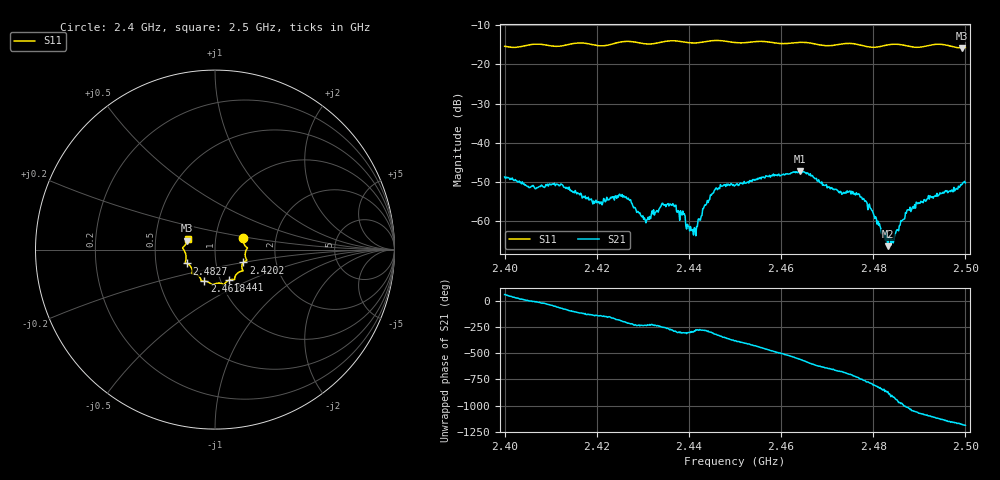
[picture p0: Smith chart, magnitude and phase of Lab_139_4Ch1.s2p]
# Hz S RI R 50
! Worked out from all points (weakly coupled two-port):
!   601 points, 2.4 GHz to 2.5 GHz, reference 50 ohm
!   highest |S21| = -47.16 dB at 2.4642 GHz (marker M1); lowest = -66.3 dB at 2.4832 GHz (marker M2)
!   lowest |S11| = -15.8 dB at 2.4992 GHz (marker M3), VSWR 1.39, Z = 36.5 + j3.7 ohm
!   |S11| at or under -10 dB: start of sweep to end of sweep
!   S12 and S22 are empty: the file has one direction only
!   S11 on the Smith chart (normalised r, x): 2.4 GHz: 1.36, +0.17; 2.4202 GHz: 1.36, -0.20; 2.441 GHz: 1.10, -0.39; 2.4618 GHz: 0.84, -0.30; 2.4827 GHz: 0.72, -0.11; 2.5 GHz: 0.73, +0.09
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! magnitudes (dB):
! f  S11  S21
! 2.4 GHz  -15.4  -48.7
! 2.4122 GHz  -15.4  -50.5
! 2.4167 GHz  -14.6  -53.1
! 2.4202 GHz  -15.2  -54.9
! 2.4253 GHz  -14.3  -53.6
! 2.4307 GHz  -14.8  -60.4
! 2.4333 GHz  -14.5  -57.6
! 2.4367 GHz  -14.0  -55.8
! 2.441 GHz  -14.6  -63.5
! 2.4455 GHz  -13.9  -52.1
! 2.45 GHz  -14.5  -50.8
! 2.4618 GHz  -14.6  -47.9
! 2.4642 GHz  -14.4  -47.2
! 2.4667 GHz  -14.6  -48.3
! 2.4768 GHz  -15.0  -53.0
! 2.4827 GHz  -15.2  -64.8
! 2.4832 GHz  -15.1  -66.3
! 2.4833 GHz  -15.0  -64.6
! 2.4843 GHz  -14.9  -65.5
! 2.4875 GHz  -15.4  -57.0
! 2.4992 GHz  -15.8  -50.7
! 2.5 GHz  -15.7  -50.2
